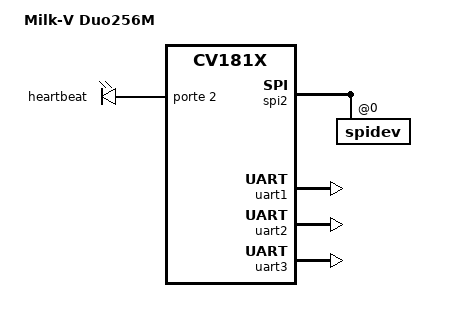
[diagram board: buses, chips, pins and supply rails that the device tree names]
/dts-v1/;
#include "cv181x_base_riscv.dtsi"
#include "cv181x_asic_qfn.dtsi"
#include "cv181x_asic_sd.dtsi"
#include "cv181x_default_memmap.dtsi"

/ {
	model = "Milk-V Duo256M";

	/* Onboard blue LED: gpio354 = porte line 2 (same pin as Milk-V's stock
	 * blink.sh, active high; pad muxed to GPIO by U-Boot cvi_board_init.c).
	 * leds-gpio + ledtrig-heartbeat are MODULES: `rmmod ledtrig_heartbeat
	 * leds_gpio` hands the pin back to /sys/class/gpio/gpio354. */
	leds {
		compatible = "gpio-leds";
		led-heartbeat {
			label = "heartbeat";
			gpios = <&porte 2 GPIO_ACTIVE_HIGH>;
			linux,default-trigger = "heartbeat";
			default-state = "off";
		};
	};
};

&mipi_rx {
	snsr-reset = <&portc 17 GPIO_ACTIVE_LOW>, <&portc 17 GPIO_ACTIVE_LOW>, <&portc 17 GPIO_ACTIVE_LOW>;
};

&i2c0 {
	status = "disabled";
};

&i2c4 {
	status = "disabled";
};

&spi2 {
	status = "okay";

	spidev@0 {
		status = "okay";
	};
};

&dac {
	mute-gpio-r = <&porte 1 GPIO_ACTIVE_LOW>;
};

&uart1 {
	status = "okay";
};

&uart2 {
	status = "okay";
};

&uart3 {
	status = "okay";
};

